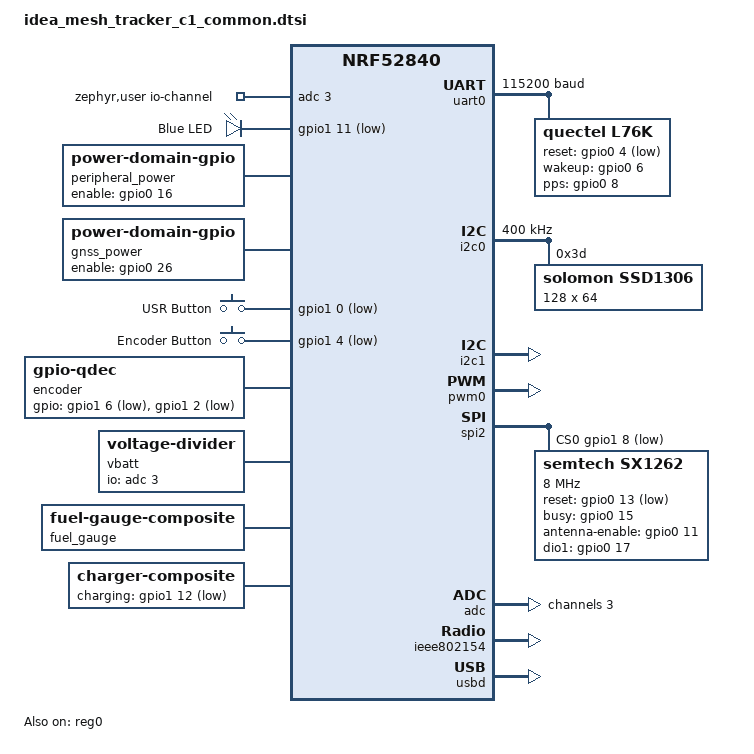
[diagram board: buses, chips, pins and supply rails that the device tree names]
/*
 * Copyright (c) 2025 Chiho Sin
 *
 * SPDX-License-Identifier: Apache-2.0
 */

#include <nordic/nrf52840_qiaa.dtsi>
#include <zephyr/dt-bindings/adc/adc.h>
#include <zephyr/dt-bindings/adc/nrf-saadc.h>
#include <zephyr/dt-bindings/input/input-event-codes.h>
#include <zephyr/dt-bindings/input/keymap.h>
#include <zephyr/dt-bindings/lora/sx126x.h>
#include <zephyr/dt-bindings/led/led.h>
#include <zephyr/dt-bindings/mipi_dbi/mipi_dbi.h>
#include <zephyr/dt-bindings/battery/battery.h>
#include "idea_mesh_tracker_c1-pinctrl.dtsi"

/ {
	chosen {
		zephyr,sram = &sram0;
		zephyr,flash = &flash0;
		zephyr,code-partition = &code_partition;
		zephyr,ieee802154 = &ieee802154;
		zephyr,display = &ssd1306;
	};

	zephyr,user {
		io-channels = <&adc 3>;
	};

	leds {
		compatible = "gpio-leds";

		led0: led_0 {
			label = "Blue LED";
			gpios = <&gpio1 11 GPIO_ACTIVE_LOW>;
		};
	};

	peripheral_power: peripheral_power {
		compatible = "power-domain-gpio";
		#power-domain-cells = <0>;
		enable-gpios = <&gpio0 16 GPIO_ACTIVE_HIGH>;
		startup-delay-us = <10000>;
	};

	gnss_power: gnss_power {
		compatible = "power-domain-gpio";
		#power-domain-cells = <0>;
		enable-gpios = <&gpio0 26 GPIO_ACTIVE_HIGH>;
		startup-delay-us = <10000>;
	};

	buttons: buttons {
		compatible = "gpio-keys";

		button0: usr_button {
			gpios = <&gpio1 0 (GPIO_PULL_UP | GPIO_ACTIVE_LOW)>;
			label = "USR Button";
			zephyr,code = <INPUT_KEY_0>;
		};

		button1: encoder_button {
			gpios = <&gpio1 4 GPIO_ACTIVE_LOW>;
			label = "Encoder Button";
			zephyr,code = <INPUT_KEY_1>;
		};
	};

	encoder: encoder {
		compatible = "gpio-qdec";
		gpios = <&gpio1 6 GPIO_ACTIVE_LOW>,
			<&gpio1 2 GPIO_ACTIVE_LOW>;
		zephyr,axis = <INPUT_REL_WHEEL>;
		steps-per-period = <4>;
		sample-time-us = <2000>;
		idle-timeout-ms = <200>;
		power-domains = <&peripheral_power>;
	};

	vbatt: vbatt {
		status = "okay";
		compatible = "voltage-divider";
		io-channels = <&adc 3>;
		output-ohms = <1500000>;
		full-ohms = <(1000000 + 1500000)>;
	};

	fuel_gauge: fuel_gauge {
		compatible = "zephyr,fuel-gauge-composite";
		source-primary = <&vbatt>;
		device-chemistry = "lithium-ion-polymer";
		ocv-capacity-table-0 = <BATTERY_OCV_CURVE_LITHIUM_ION_POLYMER_DEFAULT>;
		charge-full-design-microamp-hours = <1500000>;
	};

	charger: charger {
		compatible = "zephyr,charger-composite";
		source-primary = <&fuel_gauge>;
		charging-gpios = <&gpio1 12 GPIO_ACTIVE_LOW>;
		constant-charge-voltage-max-microvolt = <4200000>;
	};

	/* These aliases are provided for compatibility with samples */
	aliases {
		mcuboot-led0 = &led0;
		mcuboot-button0 = &button0;
		led0 = &led0;
		button0 = &button0;
		watchdog0 = &wdt0;
	};
};

&uart0 {
	status = "okay";
	current-speed = <115200>;
	pinctrl-0 = <&uart0_default>;
	pinctrl-1 = <&uart0_sleep>;
	pinctrl-names = "default", "sleep";

	l76k: l76k {
		status = "okay";
		compatible = "quectel,l76k";
		reset-gpios = <&gpio0 4 GPIO_ACTIVE_LOW>;
		wakeup-gpios = <&gpio0 6 GPIO_ACTIVE_HIGH>;
		pps-gpios = <&gpio0 8 GPIO_ACTIVE_HIGH>;
		power-domains = <&gnss_power>;
	};
};

&i2c0 {
	status = "okay";
	pinctrl-0 = <&i2c0_default>;
	pinctrl-1 = <&i2c0_sleep>;
	pinctrl-names = "default", "sleep";

	clock-frequency = <I2C_BITRATE_FAST>;
	/* Needed by i2c_nrfx_twim when concatenating a 1-byte control field + payload (e.g. SSD1306 full-line writes). */
	zephyr,concat-buf-size = <256>;
	zephyr,flash-buf-max-size = <256>;
	ssd1306: ssd1306@3d {
		/* Zephyr renamed the compatible from "solomon,ssd1306fb" -> "solomon,ssd1306". */
		compatible = "solomon,ssd1306";
		reg = <0x3d>;
		width = <128>;
		height = <64>;
		segment-offset = <0>;
		page-offset = <0>;
		display-offset = <0>;
		multiplex-ratio = <63>;
		segment-remap;
		com-invdir;
		prechargep = <0x22>;
		power-domains = <&peripheral_power>;
	};
};

&i2c1 {
	status = "okay";
	pinctrl-0 = <&i2c1_default>;
	pinctrl-1 = <&i2c1_sleep>;
	pinctrl-names = "default", "sleep";
};

&pwm0 {
	status = "okay";
	pinctrl-0 = <&pwm0_default>;
	pinctrl-1 = <&pwm0_sleep>;
	pinctrl-names = "default", "sleep";
};

&spi2 {
	status = "okay";
	pinctrl-0 = <&spi2_default>;
	pinctrl-1 = <&spi2_sleep>;
	pinctrl-names = "default", "sleep";
	cs-gpios = <&gpio1 8 GPIO_ACTIVE_LOW>;

	sx1262: sx1262@0 {
		compatible = "semtech,sx1262";
		label = "sx1262";
		reg = <0>;
		reset-gpios = <&gpio0 13 GPIO_ACTIVE_LOW>;
		busy-gpios = <&gpio0 15 GPIO_ACTIVE_HIGH>;
		antenna-enable-gpios = <&gpio0 11 GPIO_ACTIVE_HIGH>;
		dio1-gpios = <&gpio0 17 GPIO_ACTIVE_HIGH>;
		dio2-tx-enable;
		rx-boosted;
		dio3-tcxo-voltage = <SX126X_DIO3_TCXO_1V8>;
		tcxo-power-startup-delay-ms = <5>;
		spi-max-frequency = <DT_FREQ_M(8)>;
	};
};

&reg0 {
	status = "okay";
};

&reg1 {
	regulator-initial-mode = <NRF5X_REG_MODE_DCDC>;
};

&adc {
	status = "okay";
	#address-cells = <1>;
	#size-cells = <0>;

	channel@3 {
		reg = <3>;
		zephyr,gain = "ADC_GAIN_1_5";
		zephyr,reference = "ADC_REF_INTERNAL";
		zephyr,acquisition-time = <ADC_ACQ_TIME(ADC_ACQ_TIME_MICROSECONDS, 40)>;
		zephyr,input-positive = <NRF_SAADC_AIN3>;
		zephyr,resolution = <12>;
		zephyr,oversampling = <4>;
	};
};

&uicr {
	gpio-as-nreset;
};

&ieee802154 {
	status = "okay";
};

&gpiote {
	status = "okay";
};

&gpio0 {
	status = "okay";
};

&gpio1 {
	status = "okay";
};

&flash0 {
	partitions {
		compatible = "fixed-partitions";
		#address-cells = <1>;
		#size-cells = <1>;

		mbr_partition: partition@0 {
			label = "mbr";
			reg = <0x00000000 0x00001000>;
		};

		softdevice_partition: partition@1000 {
			label = "softdevice";
			reg = <0x00001000 0x00026000>;
		};

		code_partition: partition@27000 {
			label = "app";
			reg = <0x00027000 0x000c3000>;
		};

		storage_partition: partition@ea000 {
			label = "storage";
			reg = <0x000ea000 0x00004000>;
		};

		lfs_partition: partition@ee000 {
			label = "lfs_storage";
			reg = <0x000ee000 0x00006000>;
		};

		bootloader_partition: partition@f4000 {
			label = "bootloader";
			reg = <0x000f4000 0x0000a000>;
		};

		mbr_params_partition: partition@fe000 {
			label = "mbr_params";
			reg = <0x000fe000 0x00001000>;
		};

		bootloader_settings_partition: partition@ff000 {
			label = "bootloader_settings";
			reg = <0x000ff000 0x00001000>;
		};
	};
};


zephyr_udc0: &usbd {
	status = "okay";
};

#include <../boards/common/usb/cdc_acm_serial.dtsi>
